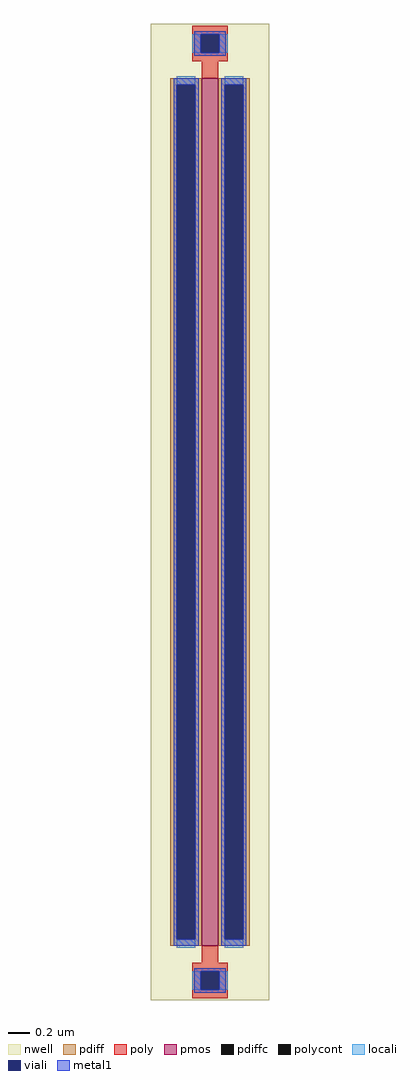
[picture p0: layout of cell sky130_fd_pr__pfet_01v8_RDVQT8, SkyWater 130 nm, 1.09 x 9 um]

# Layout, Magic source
magic
tech sky130A
magscale 1 2
<< nwell >>
rect -109 -900 109 900
<< pmos >>
rect -15 -800 15 800
<< pdiff >>
rect -73 788 -15 800
rect -73 -788 -61 788
rect -27 -788 -15 788
rect -73 -800 -15 -788
rect 15 788 73 800
rect 15 -788 27 788
rect 61 -788 73 788
rect 15 -800 73 -788
<< pdiffc >>
rect -61 -788 -27 788
rect 27 -788 61 788
<< poly >>
rect -33 881 33 897
rect -33 847 -17 881
rect 17 847 33 881
rect -33 831 33 847
rect -15 800 15 831
rect -15 -831 15 -800
rect -33 -847 33 -831
rect -33 -881 -17 -847
rect 17 -881 33 -847
rect -33 -897 33 -881
<< polycont >>
rect -17 847 17 881
rect -17 -881 17 -847
<< locali >>
rect -33 847 -17 881
rect 17 847 33 881
rect -61 788 -27 804
rect -61 -804 -27 -788
rect 27 788 61 804
rect 27 -804 61 -788
rect -33 -881 -17 -847
rect 17 -881 33 -847
<< viali >>
rect -17 847 17 881
rect -61 -788 -27 788
rect 27 -788 61 788
rect -17 -881 17 -847
<< metal1 >>
rect -29 881 29 887
rect -29 847 -17 881
rect 17 847 29 881
rect -29 841 29 847
rect -67 788 -21 800
rect -67 -788 -61 788
rect -27 -788 -21 788
rect -67 -800 -21 -788
rect 21 788 67 800
rect 21 -788 27 788
rect 61 -788 67 788
rect 21 -800 67 -788
rect -29 -847 29 -841
rect -29 -881 -17 -847
rect 17 -881 29 -847
rect -29 -887 29 -881
<< properties >>
string gencell sky130_fd_pr__pfet_01v8
string parameters w 8 l 0.15 m 1 nf 1 diffcov 100 polycov 100 guard 0 glc 0 grc 0 gtc 0 gbc 0 tbcov 100 rlcov 100 topc 1 botc 1 poverlap 0 doverlap 1 lmin 0.15 wmin 0.42 compatible {sky130_fd_pr__pfet_01v8  sky130_fd_pr__pfet_01v8_lvt sky130_fd_pr__pfet_01v8_hvt  sky130_fd_pr__pfet_g5v0d10v5} full_metal 0 viagl 0 viagr 0 viagt 0 viagb 0 viagate 100 viadrn 100 viasrc 100
string library sky130
<< end >>
